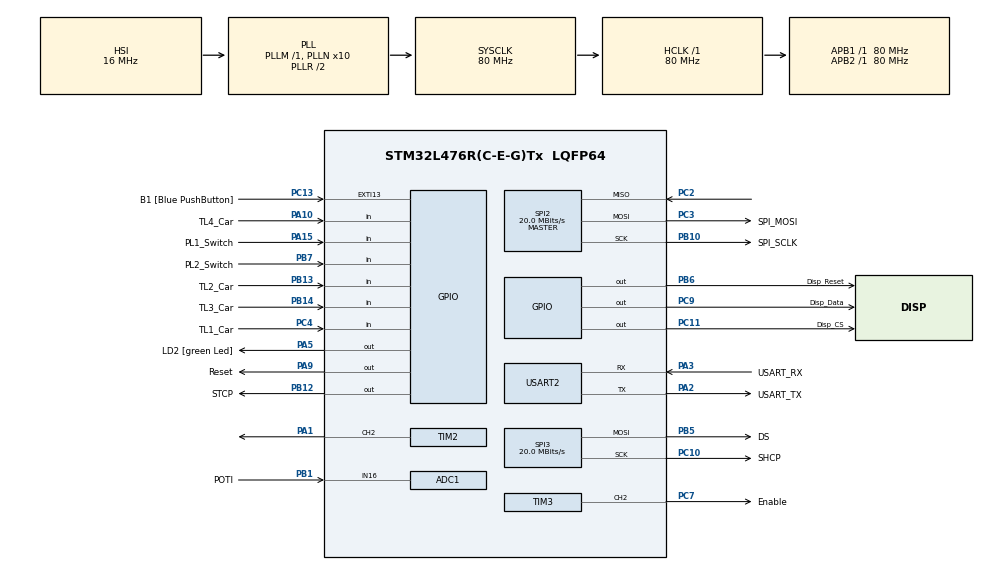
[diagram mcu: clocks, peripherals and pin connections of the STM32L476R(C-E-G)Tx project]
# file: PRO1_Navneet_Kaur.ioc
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ADC1.Channel-0\#ChannelRegularConversion=ADC_CHANNEL_16
ADC1.ContinuousConvMode=ENABLE
ADC1.NbrOfConversionFlag=1
ADC1.OffsetNumber-0\#ChannelRegularConversion=ADC_OFFSET_NONE
ADC1.Rank-0\#ChannelRegularConversion=1
ADC1.SamplingTime-0\#ChannelRegularConversion=ADC_SAMPLETIME_47CYCLES_5
ADC1.master=1
Mcu.Family=STM32L4
Mcu.Name=STM32L476R(C-E-G)Tx
Mcu.Package=LQFP64
NVIC.PriorityGroup=NVIC_PRIORITYGROUP_4
PA1.Signal=S_TIM2_CH2
PA10.GPIO_Label=TL4_Car
PA10.Signal=GPIO_Input
PA13\ (JTMS-SWDIO).GPIO_Label=TMS
PA13\ (JTMS-SWDIO).Mode=Serial_Wire
PA13\ (JTMS-SWDIO).Signal=SYS_JTMS-SWDIO
PA14\ (JTCK-SWCLK).GPIO_Label=TCK
PA14\ (JTCK-SWCLK).Mode=Serial_Wire
PA14\ (JTCK-SWCLK).Signal=SYS_JTCK-SWCLK
PA15\ (JTDI).GPIO_Label=PL1_Switch
PA15\ (JTDI).GPIO_PuPd=GPIO_PULLUP
PA15\ (JTDI).Signal=GPIO_Input
PA2.GPIO_Label=USART_TX
PA2.GPIO_Mode=GPIO_MODE_AF_PP
PA2.GPIO_PuPd=GPIO_NOPULL
PA2.GPIO_Speed=GPIO_SPEED_FREQ_VERY_HIGH
PA2.Mode=Asynchronous
PA2.Signal=USART2_TX
PA3.GPIO_Label=USART_RX
PA3.GPIO_Mode=GPIO_MODE_AF_PP
PA3.GPIO_PuPd=GPIO_NOPULL
PA3.GPIO_Speed=GPIO_SPEED_FREQ_VERY_HIGH
PA3.Mode=Asynchronous
PA3.Signal=USART2_RX
PA5.GPIO_Label=LD2 [green Led]
PA5.GPIO_ModeDefaultOutputPP=GPIO_MODE_OUTPUT_PP
PA5.GPIO_PuPd=GPIO_NOPULL
PA5.GPIO_Speed=GPIO_SPEED_FREQ_LOW
PA5.Signal=GPIO_Output
PA9.GPIO_Label=Reset
PA9.GPIO_PuPd=GPIO_NOPULL
PA9.PinState=GPIO_PIN_SET
PA9.Signal=GPIO_Output
PB1.GPIO_Label=POTI
PB1.Signal=ADCx_IN16
PB10.GPIO_Label=SPI_SCLK
PB10.Mode=Full_Duplex_Master
PB10.Signal=SPI2_SCK
PB12.GPIO_Label=STCP
PB12.GPIO_PuPd=GPIO_NOPULL
PB12.Signal=GPIO_Output
PB13.GPIO_Label=TL2_Car
PB13.Signal=GPIO_Input
PB14.GPIO_Label=TL3_Car
PB14.Signal=GPIO_Input
PB3\ (JTDO-TRACESWO).GPIO_Label=SWO
PB3\ (JTDO-TRACESWO).Signal=SYS_JTDO-SWO
PB5.GPIO_Label=DS
PB5.GPIO_PuPd=GPIO_NOPULL
PB5.Mode=TX_Only_Simplex_Unidirect_Master
PB5.Signal=SPI3_MOSI
PB6.GPIO_Label=Disp_Reset
PB6.Signal=GPIO_Output
PB7.GPIO_Label=PL2_Switch
PB7.GPIO_PuPd=GPIO_PULLUP
PB7.Signal=GPIO_Input
PC10.GPIO_Label=SHCP
PC10.GPIO_PuPd=GPIO_NOPULL
PC10.Mode=TX_Only_Simplex_Unidirect_Master
PC10.Signal=SPI3_SCK
PC11.GPIO_Label=Disp_CS
PC11.Signal=GPIO_Output
PC13.GPIO_Label=B1 [Blue PushButton]
PC13.GPIO_ModeDefaultEXTI=GPIO_MODE_IT_FALLING
PC13.GPIO_PuPd=GPIO_NOPULL
PC13.Signal=GPXTI13
PC14-OSC32_IN\ (PC14).Mode=LSE-External-Oscillator
PC14-OSC32_IN\ (PC14).Signal=RCC_OSC32_IN
PC15-OSC32_OUT\ (PC15).Mode=LSE-External-Oscillator
PC15-OSC32_OUT\ (PC15).Signal=RCC_OSC32_OUT
PC2.Mode=Full_Duplex_Master
PC2.Signal=SPI2_MISO
PC3.GPIO_Label=SPI_MOSI
PC3.Mode=Full_Duplex_Master
PC3.Signal=SPI2_MOSI
PC4.GPIO_Label=TL1_Car
PC4.Signal=GPIO_Input
PC7.GPIO_Label=Enable
PC7.Signal=S_TIM3_CH2
PC9.GPIO_Label=Disp_Data
PC9.Signal=GPIO_Output
PH0-OSC_IN\ (PH0).Signal=RCC_OSC_IN
PH1-OSC_OUT\ (PH1).Signal=RCC_OSC_OUT
ProjectManager.HeapSize=0x200
ProjectManager.StackSize=0x400
ProjectManager.TargetToolchain=STM32CubeIDE
RCC.ADCFreq_Value=64000000
RCC.AHBFreq_Value=80000000
RCC.APB1Freq_Value=80000000
RCC.APB1TimFreq_Value=80000000
RCC.APB2Freq_Value=80000000
RCC.APB2TimFreq_Value=80000000
RCC.CortexFreq_Value=80000000
RCC.HCLKFreq_Value=80000000
RCC.HSE_VALUE=8000000
RCC.HSI_VALUE=16000000
RCC.MSI_VALUE=4000000
RCC.PLLN=10
RCC.PLLSourceVirtual=RCC_PLLSOURCE_HSI
RCC.PREFETCH_ENABLE=1
RCC.SYSCLKFreq_VALUE=80000000
RCC.SYSCLKSource=RCC_SYSCLKSOURCE_PLLCLK
RCC.USBFreq_Value=64000000
RCC.VCOOutputFreq_Value=160000000
SH.ADCx_IN16.0=ADC1_IN16,IN16-Single-Ended
SH.S_TIM2_CH2.0=TIM2_CH2,PWM Generation2 CH2
SH.S_TIM3_CH2.0=TIM3_CH2,PWM Generation2 CH2
SPI2.BaudRatePrescaler=SPI_BAUDRATEPRESCALER_4
SPI2.CalculateBaudRate=20.0 MBits/s
SPI2.DataSize=SPI_DATASIZE_8BIT
SPI2.Direction=SPI_DIRECTION_2LINES
SPI2.Mode=SPI_MODE_MASTER
SPI2.VirtualType=VM_MASTER
SPI3.BaudRatePrescaler=SPI_BAUDRATEPRESCALER_4
SPI3.CalculateBaudRate=20.0 MBits/s
SPI3.DataSize=SPI_DATASIZE_8BIT
SPI3.Direction=SPI_DIRECTION_2LINES
SPI3.Mode=SPI_MODE_MASTER
SPI3.VirtualType=VM_MASTER
TIM2.Channel-PWM\ Generation2\ CH2=TIM_CHANNEL_2
TIM2.Period=999
TIM2.Prescaler=79
TIM3.Channel-PWM\ Generation2\ CH2=TIM_CHANNEL_2
TIM3.Prescaler=79
USART2.VirtualMode-Asynchronous=VM_ASYNC
board=NUCLEO-L476RG

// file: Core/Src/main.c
/* USER CODE BEGIN Header */
/**
  ******************************************************************************
  * @file           : main.c
  * @brief          : Traffic Shield LED Test
  ******************************************************************************
  * @attention
  *
  * Copyright (c) 2025 STMicroelectronics.
  * All rights reserved.
  *
  ******************************************************************************
  */
/* USER CODE END Header */
#include "main.h"
#include "adc.h"
#include "spi.h"
#include "tim.h"
#include "usart.h"
#include "gpio.h"

/* USER CODE BEGIN Includes */
#include "traffic_control.h"
#include "test.h"
#include "shift_register.h"
#include "traffic_ped.h"
#include "traffic_control2.h"
#include "ssd1306.h"
#include "display.h"
#include "poti.h"
/* USER CODE END Includes */

void SystemClock_Config(void);

int main(void)
{

  /* MCU Configuration--------------------------------------------------------*/

  /* Reset of all peripherals, Initializes the Flash interface and the Systick. */
  HAL_Init();

  /* Configure the system clock */
  SystemClock_Config();

  /* Initialize all configured peripherals */
  MX_GPIO_Init();
  MX_USART2_UART_Init();
  MX_ADC1_Init();
  MX_SPI2_Init();
  MX_SPI3_Init();
  MX_TIM2_Init();
  MX_TIM3_Init();
  /* USER CODE BEGIN 2 */
  Display_Init();
  SR_Init();
  TrafficPT_Init();
  TrafficCtrl_Init();	//or TrafficCtrl_Init(); for task 1
  Poti_Init();

  /* USER CODE END 2 */

  /* Infinite loop */
  while (1)
  {

    /* USER CODE BEGIN 3 */

	  // Update traffic logic

	  TrafficCtrl_Update();  //or TrafficCtrl_Update for task 1
	  SR_Send(TrafficCtrl_GetSRData());  //or TrafficCtrl_GetSRData() for task 1

	  // Update brightness
	  Poti_UpdateBrightness();

	  Display_Update();
	  HAL_Delay(50);

  }
  /* USER CODE END 3 */
}

void SystemClock_Config(void)
{
  RCC_OscInitTypeDef RCC_OscInitStruct = {0};
  RCC_ClkInitTypeDef RCC_ClkInitStruct = {0};

  /** Configure the main internal regulator output voltage
  */
  if (HAL_PWREx_ControlVoltageScaling(PWR_REGULATOR_VOLTAGE_SCALE1) != HAL_OK)
  {
    Error_Handler();
  }

  /** Initializes the RCC Oscillators according to the specified parameters
  * in the RCC_OscInitTypeDef structure.
  */
  RCC_OscInitStruct.OscillatorType = RCC_OSCILLATORTYPE_HSI;
  RCC_OscInitStruct.HSIState = RCC_HSI_ON;
  RCC_OscInitStruct.HSICalibrationValue = RCC_HSICALIBRATION_DEFAULT;
  RCC_OscInitStruct.PLL.PLLState = RCC_PLL_ON;
  RCC_OscInitStruct.PLL.PLLSource = RCC_PLLSOURCE_HSI;
  RCC_OscInitStruct.PLL.PLLM = 1;
  RCC_OscInitStruct.PLL.PLLN = 10;
  RCC_OscInitStruct.PLL.PLLP = RCC_PLLP_DIV7;
  RCC_OscInitStruct.PLL.PLLQ = RCC_PLLQ_DIV2;
  RCC_OscInitStruct.PLL.PLLR = RCC_PLLR_DIV2;
  if (HAL_RCC_OscConfig(&RCC_OscInitStruct) != HAL_OK)
  {
    Error_Handler();
  }

  /** Initializes the CPU, AHB and APB buses clocks
  */
  RCC_ClkInitStruct.ClockType = RCC_CLOCKTYPE_HCLK|RCC_CLOCKTYPE_SYSCLK
                              |RCC_CLOCKTYPE_PCLK1|RCC_CLOCKTYPE_PCLK2;
  RCC_ClkInitStruct.SYSCLKSource = RCC_SYSCLKSOURCE_PLLCLK;
  RCC_ClkInitStruct.AHBCLKDivider = RCC_SYSCLK_DIV1;
  RCC_ClkInitStruct.APB1CLKDivider = RCC_HCLK_DIV1;
  RCC_ClkInitStruct.APB2CLKDivider = RCC_HCLK_DIV1;

  if (HAL_RCC_ClockConfig(&RCC_ClkInitStruct, FLASH_LATENCY_4) != HAL_OK)
  {
    Error_Handler();
  }
}

void Error_Handler(void)
{
  /* USER CODE BEGIN Error_Handler_Debug */
void Error_Handler(void)
{
    __disable_irq();
    while (1)
    {
    }
}
  /* USER CODE END Error_Handler_Debug */
}
